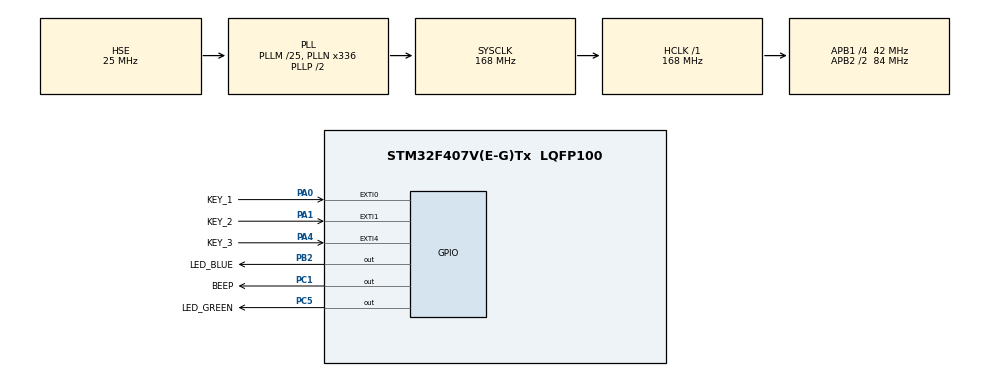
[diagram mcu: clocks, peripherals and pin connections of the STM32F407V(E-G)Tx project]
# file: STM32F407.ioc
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Mcu.Family=STM32F4
Mcu.Name=STM32F407V(E-G)Tx
Mcu.Package=LQFP100
NVIC.EXTI0_IRQn=true\:0\:0\:false\:false\:true\:true\:true\:true
NVIC.EXTI1_IRQn=true\:0\:0\:false\:false\:true\:true\:true\:true
NVIC.EXTI4_IRQn=true\:0\:0\:false\:false\:true\:true\:true\:true
NVIC.PriorityGroup=NVIC_PRIORITYGROUP_4
PA0-WKUP.GPIO_Label=KEY_1
PA0-WKUP.GPIO_PuPd=GPIO_PULLDOWN
PA0-WKUP.Signal=GPXTI0
PA1.GPIO_Label=KEY_2
PA1.GPIO_ModeDefaultEXTI=GPIO_MODE_IT_FALLING
PA1.GPIO_PuPd=GPIO_PULLUP
PA1.Signal=GPXTI1
PA13.Mode=Serial_Wire
PA13.Signal=SYS_JTMS-SWDIO
PA14.Mode=Serial_Wire
PA14.Signal=SYS_JTCK-SWCLK
PA4.GPIO_Label=KEY_3
PA4.GPIO_ModeDefaultEXTI=GPIO_MODE_IT_FALLING
PA4.GPIO_PuPd=GPIO_PULLUP
PA4.Signal=GPXTI4
PB2.GPIO_Label=LED_BLUE
PB2.GPIO_PuPd=GPIO_NOPULL
PB2.PinState=GPIO_PIN_RESET
PB2.Signal=GPIO_Output
PC1.GPIO_Label=BEEP
PC1.GPIO_PuPd=GPIO_NOPULL
PC1.PinState=GPIO_PIN_SET
PC1.Signal=GPIO_Output
PC5.GPIO_Label=LED_GREEN
PC5.GPIO_PuPd=GPIO_NOPULL
PC5.Signal=GPIO_Output
PH0-OSC_IN.Mode=HSE-External-Oscillator
PH0-OSC_IN.Signal=RCC_OSC_IN
PH1-OSC_OUT.Mode=HSE-External-Oscillator
PH1-OSC_OUT.Signal=RCC_OSC_OUT
ProjectManager.HeapSize=0x200
ProjectManager.StackSize=0x1000
ProjectManager.TargetToolchain=MDK-ARM V5.32
RCC.48MHZClocksFreq_Value=48000000
RCC.AHBFreq_Value=168000000
RCC.APB1CLKDivider=RCC_HCLK_DIV4
RCC.APB1Freq_Value=42000000
RCC.APB1TimFreq_Value=84000000
RCC.APB2CLKDivider=RCC_HCLK_DIV2
RCC.APB2Freq_Value=84000000
RCC.APB2TimFreq_Value=168000000
RCC.CortexFreq_Value=168000000
RCC.HCLKFreq_Value=168000000
RCC.HSE_VALUE=25000000
RCC.HSI_VALUE=16000000
RCC.LSE_VALUE=32768
RCC.PLLM=25
RCC.PLLN=336
RCC.PLLQ=7
RCC.PLLSourceVirtual=RCC_PLLSOURCE_HSE
RCC.SYSCLKFreq_VALUE=168000000
RCC.SYSCLKSource=RCC_SYSCLKSOURCE_PLLCLK
RCC.VCOOutputFreq_Value=336000000
board=custom

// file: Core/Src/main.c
/* USER CODE BEGIN Header */
/**==================================================================================================================
 ** 【代码编写】  魔女开发板团队
 ** 【淘    宝】  魔女开发板       https://demoboard.taobao.com
 **==================================================================================================================
 ** 【实验名称】  基础外设测试（蜂鸣器 + LED + 按键中断）
 **
 ** 【适用平台】  STM32F407 + Keil5 + HAL库
 **
 ** 【功能概述】  本程序演示开发板基础外设的简单控制，包含蜂鸣器、LED 及按键中断响应。
 **               1. 初始化系统时钟、GPIO 及 UART1（用于 printf 调试输出）
 **               2. 上电后蜂鸣器鸣响 500ms，提示程序启动
 **               3. 主循环中每 500ms 交替翻转蓝色 LED 和蜂鸣器，产生规律提示音及灯光闪烁
 **               4. 按键中断（KEY1/KEY2/KEY3）触发时，反转蓝色 LED 状态，并通过串口输出按键信息
 **               5. 串口输出可供调试，观察系统运行状态
 **
 ** 【硬件接线】  1. 蜂鸣器：GPIO PC1，低电平有效（置低响，置高停）
 **               2. 蓝色 LED：由 MX_GPIO_Init 配置，具体引脚请查看 gpio.h 中的 LED_BLUE_Pin 宏定义
 **               3. 按键 KEY1/KEY2/KEY3：已在 CubeMX 中配置中断，具体引脚见 gpio.h
 **               4. 串口 UART1：用于调试输出，默认引脚 PA9(TX)、PA10(RX)
 **
 ** 【移植说明】  1. 本工程已包含 bsp_UART 模块，使用 UART1_Init(115200) 初始化串口
 **               2. 蜂鸣器引脚可根据实际硬件修改，只需修改 GPIO 控制部分
 **               3. 按键中断回调函数 HAL_GPIO_EXTI_Callback 已实现，如需添加其他中断功能，请在此函数中扩充
 **               4. 若需修改 LED 闪烁周期，可调整 main 函数中的 ms 计数阈值
 **
 ** 【使用说明】  1. 编译下载后，开发板上电蜂鸣器鸣响约 0.5 秒，蓝色 LED 开始每 500ms 闪烁一次，同时蜂鸣器同步发声
 **               2. 按下任意按键（KEY1/KEY2/KEY3），蓝色 LED 状态立即反转，串口输出对应按键提示
 **               3. 打开串口助手（115200-8-N-1），可看到按键按下时的提示信息
 **
 ** 【调试建议】  1. 若蜂鸣器不响，检查 GPIO 电平极性是否与硬件匹配（本程序低电平有效）
 **               2. 若按键无响应，检查中断优先级配置及引脚连接
 **               3. 若串口无输出，检查 UART 引脚连接及波特率设置
 **
 ** 【更新记录】  2025-03-16  创建基础外设测试程序
 **
 ** 【备注说明】  版权归魔女科技所有，仅供学习使用，请勿用于商业用途。
 **               https://demoboard.taobao.com
 **
==================================================================================================================**/
/* USER CODE END Header */
#include "main.h"
#include "gpio.h"

/* USER CODE BEGIN Includes */
#include "bsp_UART.h"

/* USER CODE END Includes */

void SystemClock_Config(void);

/* USER CODE BEGIN 0 */
// 所用用户代码，必须写在配对的BEGIN与END注释之间，否则重新生成时会被自动删除

/******************************************************************************
 * 函  数： HAL_GPIO_EXTI_Callback
 * 功  能： EXTI中断回调函数
 * 参  数： uint16_t  GPIO_Pin    引脚编号，参数范围：GPIO_Pin_0 ~ GPIO_Pin_15
 * 返回值： 无
 * 备  注： CubeMX生成的代码在思维和风格上，与使用标准库编写时有很大的区别。
 *          1：这个是回调函数，不是中断服务函数。完整的调用：EXTIx_IRQHandler() > HAL_GPIO_EXTI_IRQHandler(GPIO_PIN_x) > HAL_GPIO_EXTI_Callback(GPIO_PIN_x)
 *          2：必须使用这个函数名称，因为它在CubeMX生成时，已被写好了各种函数调用、函数弱定义(在stm32xx_hal_gpio.c的底部); 不建议在原弱定义中增添代码，而是重写本函数
 *          3：中断条件触发后，本函数被自动调用，无需进行人工调用; 也无需进行中断标志的清理，因为HAL_GPIO_EXTI_IRQHandler()函数中已有操作;
 *          4：生成的所有EXTI中断服务函数，都统一调用这个函数，以引脚编号作参数
 *          5：判断参数传进来的引脚编号，即可知道是哪个外部中断线产生的中断信号
******************************************************************************/
void HAL_GPIO_EXTI_Callback(uint16_t GPIO_Pin)
{
    if (GPIO_Pin == KEY_1_Pin)                                  // 按键1 产生的中断信号：KEY_1、PA0、闲时下拉、按下时高电平、上升沿触发
    {
        HAL_GPIO_TogglePin(GPIOB, GPIO_PIN_2);                  // 反转蓝色LED灯
        printf("KEY_1 按下\r");                                 // 通过串口助手输出提示
        //XPT2046_ReCalibration();                              // 触摸屏重新校准
    }

    if (GPIO_Pin == KEY_2_Pin)                                  // 按键2 产生的中断信号：KEY_2、PA1、闲时上拉、按下时低电平、下降沿触发
    {
        HAL_GPIO_TogglePin(GPIOB, GPIO_PIN_2);                  // 反转蓝色LED灯
        printf("KEY_2 按下\r");                                 // 通过串口助手输出提示
    }

    if (GPIO_Pin == KEY_3_Pin)                                  // 按键3 产生的中断信号：KEY_3、PA4、闲时上拉、按下低高电平、下降沿触发
    {
        HAL_GPIO_TogglePin(GPIOB, GPIO_PIN_2);                  // 反转蓝色LED灯
        printf("KEY_3 按下\r");                                 // 通过串口助手输出提示
    }
}

/* USER CODE END 0 */

int main(void)
{

    /* USER CODE BEGIN 1 */

    /* 说明：
     * 1. 不要删除CubeMX生成的注释行（形如 USER CODE BEGIN/END），这些注释用于代码重新生成时的定位
     * 2. 所有用户自定义代码必须写在对应的BEGIN与END注释行之间，否则重新生成时会被覆盖
     * 3. 主要初始化函数说明：
     *    - HAL_Init()            初始化HAL库，配置中断优先级、系统时基等
     *    - SystemClock_Config()  配置系统时钟
     *    - MX_GPIO_Init()        初始化GPIO引脚（仅包含推挽输出、中断触发等配置）
     *    - 外设功能引脚（如UART、SPI等）的初始化在各自的功能文件中
     */

    /* USER CODE END 1 */

    /* MCU Configuration--------------------------------------------------------*/

    /* Reset of all peripherals, Initializes the Flash interface and the Systick. */
    HAL_Init();

    /* Configure the system clock */
    SystemClock_Config();

    /* Initialize all configured peripherals */
    MX_GPIO_Init();
    /* USER CODE BEGIN 2 */
    // 所用用户代码，必须写在配对的BEGIN与END注释之间，否则重新生成时会被自动删除

    UART1_Init(115200);                         // 串口1初始化，用于printf调试信息到串口助手

    HAL_GPIO_WritePin(GPIOC, GPIO_PIN_1, 0);    // 蜂鸣器引脚，置低电平：响
    HAL_Delay(500);                             // 延时
    HAL_GPIO_WritePin(GPIOC, GPIO_PIN_1, 1);    // 蜂鸣器引脚，置高电平：不响

    /* USER CODE END 2 */

    /* Infinite loop */
    while (1)
    {

        /* USER CODE BEGIN 3 */

        // 所用用户代码，必须写在配对的BEGIN与END注释之间，否则重新生成时会被自动删除

        HAL_Delay(1 - 1);                                                  // 延时函数，参数：ms; 注意：CubeMX生成的HAL_Delay(), 函数内部为避免无效操作，会对传入参数+1，因此，如果只需要几ms延时建议传入参数时-1，如果需要大几百ms的非精准延时，那参数不-1也影响不大

        static uint16_t ms = 0;
        if (++ms >= 500)                                                   // 每500ms执行一次
        {
            HAL_GPIO_TogglePin(LED_BLUE_GPIO_Port, LED_BLUE_Pin);          // 反转蓝色LED的引脚电平; 规律地闪烁LED,能方便外部观察系统是否正常运行
            HAL_GPIO_TogglePin(GPIOC, GPIO_PIN_1);                         // 反转蜂鸣器的引脚电平;
            ms = 0;                                                        // 计数清0
        }

    }
    /* USER CODE END 3 */
}

void SystemClock_Config(void)
{
    RCC_OscInitTypeDef RCC_OscInitStruct = {0};
    RCC_ClkInitTypeDef RCC_ClkInitStruct = {0};

    /** Configure the main internal regulator output voltage
    */
    __HAL_RCC_PWR_CLK_ENABLE();
    __HAL_PWR_VOLTAGESCALING_CONFIG(PWR_REGULATOR_VOLTAGE_SCALE1);

    /** Initializes the RCC Oscillators according to the specified parameters
    * in the RCC_OscInitTypeDef structure.
    */
    RCC_OscInitStruct.OscillatorType = RCC_OSCILLATORTYPE_HSE;
    RCC_OscInitStruct.HSEState = RCC_HSE_ON;
    RCC_OscInitStruct.PLL.PLLState = RCC_PLL_ON;
    RCC_OscInitStruct.PLL.PLLSource = RCC_PLLSOURCE_HSE;
    RCC_OscInitStruct.PLL.PLLM = 25;
    RCC_OscInitStruct.PLL.PLLN = 336;
    RCC_OscInitStruct.PLL.PLLP = RCC_PLLP_DIV2;
    RCC_OscInitStruct.PLL.PLLQ = 7;
    if (HAL_RCC_OscConfig(&RCC_OscInitStruct) != HAL_OK)
    {
        Error_Handler();
    }

    /** Initializes the CPU, AHB and APB buses clocks
    */
    RCC_ClkInitStruct.ClockType = RCC_CLOCKTYPE_HCLK | RCC_CLOCKTYPE_SYSCLK
                                  | RCC_CLOCKTYPE_PCLK1 | RCC_CLOCKTYPE_PCLK2;
    RCC_ClkInitStruct.SYSCLKSource = RCC_SYSCLKSOURCE_PLLCLK;
    RCC_ClkInitStruct.AHBCLKDivider = RCC_SYSCLK_DIV1;
    RCC_ClkInitStruct.APB1CLKDivider = RCC_HCLK_DIV4;
    RCC_ClkInitStruct.APB2CLKDivider = RCC_HCLK_DIV2;

    if (HAL_RCC_ClockConfig(&RCC_ClkInitStruct, FLASH_LATENCY_5) != HAL_OK)
    {
        Error_Handler();
    }
}

void Error_Handler(void)
{
    __disable_irq();
    while (1)
    {
    }
}
